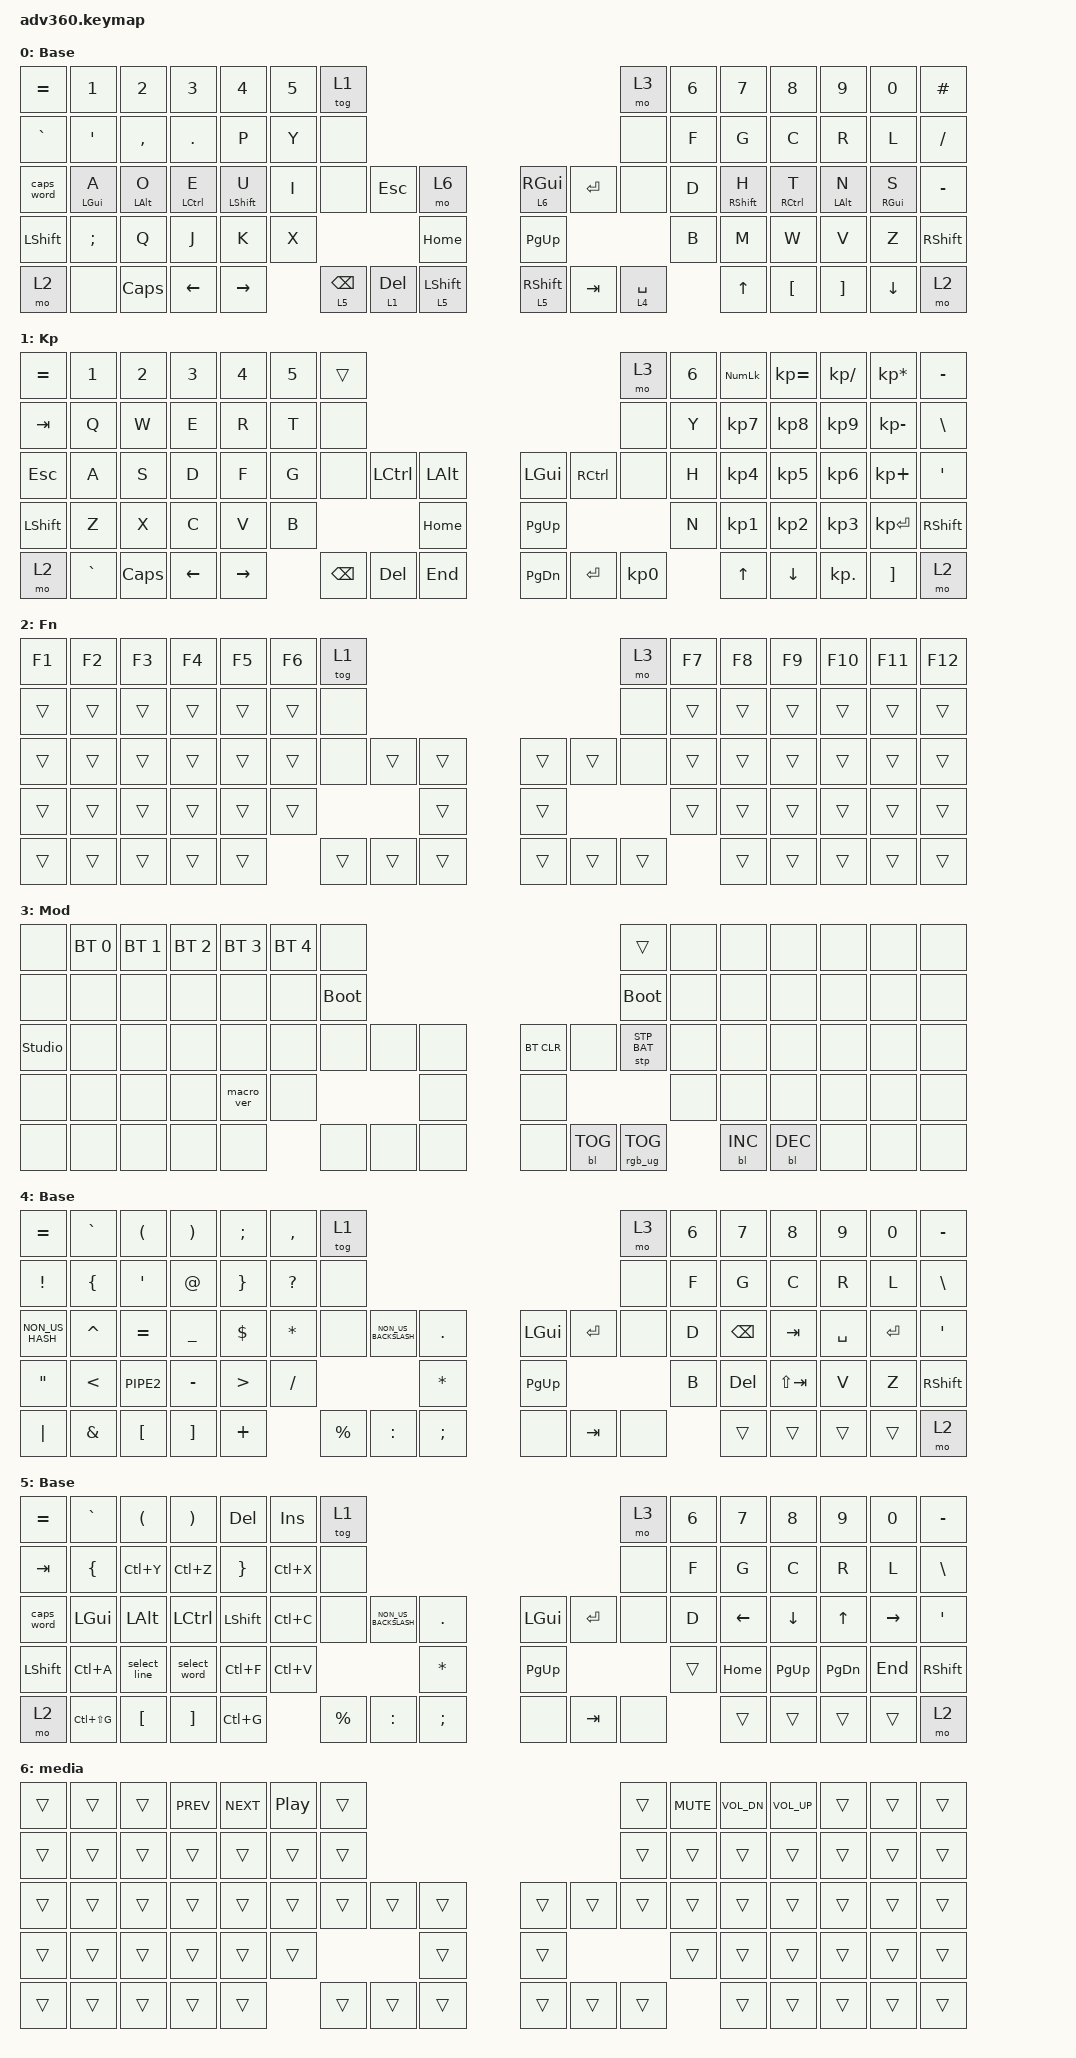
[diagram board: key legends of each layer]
#include <dt-bindings/zmk/stp.h>
#include <behaviors.dtsi>
#include <dt-bindings/zmk/backlight.h>
#include <dt-bindings/zmk/bt.h>
#include <dt-bindings/zmk/keys.h>
#include <dt-bindings/zmk/rgb.h>

&lt { quick-tap-ms = <300>; };

&sk {
    release-after-ms = <500>;
    quick-release;
};

/ {
    behaviors {
        #include "macros.dtsi"
      #include "version.dtsi"

        hm: homerow_mods {
            compatible = "zmk,behavior-hold-tap";
            label = "HOMEROW_MODS";
            #binding-cells = <2>;
            tapping-term-ms = <200>;
            flavor = "tap-preferred";
            bindings = <&kp>, <&kp>;

            require-prior-idle-ms = <200>;
            quick-tap-ms = <300>;
        };

        caps_word: caps_word {
            compatible = "zmk,behavior-caps-word";
            label = "CAPS_WORD";
            #binding-cells = <0>;
            continue-list = <A B C D E F G H I J K L M N O P Q R S T U V W X Y Z BACKSPACE UNDERSCORE DELETE>;
            mods = <(MOD_LSFT)>;
        };

        one_shot_shift: one_shot_shift {
            compatible = "zmk,behavior-hold-tap";
            label = "ONE_SHOT_SHIFT";
            bindings = <&mo>, <&sk>;

            #binding-cells = <2>;
            tapping-term-ms = <200>;
            flavor = "tap-preferred";
            require-prior-idle-ms = <150>;
        };
    };

    macros {
        select_line: select_line {
            compatible = "zmk,behavior-macro";
            #binding-cells = <0>;
            bindings = <&kp HOME &kp LS(END)>;
            label = "SELECT_LINE";
        };

        select_word: select_word {
            compatible = "zmk,behavior-macro";
            #binding-cells = <0>;
            bindings = <&kp LA(RIGHT) &kp LA(LEFT) &kp LA(LS(RIGHT))>;
            label = "SELECT_WORD";
        };
    };

    keymap {
        compatible = "zmk,keymap";

        default_layer {
            display-name = "Base";
            bindings = <
&kp EQUAL   &kp N1         &kp N2      &kp N3       &kp N4       &kp N5  &tog 1                                                                                          &mo 3        &kp N6  &kp N7        &kp N8       &kp N9      &kp N0      &kp HASH
&kp GRAVE   &kp SQT        &kp COMMA   &kp PERIOD   &kp P        &kp Y   &none                                                                                           &none        &kp F   &kp G         &kp C        &kp R       &kp L       &kp SLASH
&caps_word  &hm LGUI A     &hm LALT O  &hm LCTRL E  &hm LSHFT U  &kp I   &none            &kp ESC       &mo 6                        &lt 6 RIGHT_GUI          &kp ENTER  &none        &kp D   &hm RSHFT H   &hm RCTRL T  &hm LALT N  &hm RGUI S  &kp MINUS
&kp LSHFT   &kp SEMICOLON  &kp Q       &kp J        &kp K        &kp X                                  &kp HOME                     &kp PG_UP                                        &kp B   &kp M         &kp W        &kp V       &kp Z       &kp RSHFT
&mo 2       &none          &kp CAPS    &kp LEFT     &kp RIGHT            &lt 5 BACKSPACE  &lt 1 DELETE  &one_shot_shift 5 LSHFT      &one_shot_shift 5 RSHFT  &kp TAB    &lt 4 SPACE          &kp UP_ARROW  &kp LBKT     &kp RBKT    &kp DOWN    &mo 2
            >;
        };

        keypad {
            display-name = "Kp";
            bindings = <
&kp EQUAL  &kp N1     &kp N2    &kp N3    &kp N4     &kp N5  &trans                                                   &mo 3      &kp N6  &kp KP_NUM  &kp KP_EQUAL  &kp KP_DIVIDE  &kp KP_MULTIPLY  &kp MINUS
&kp TAB    &kp Q      &kp W     &kp E     &kp R      &kp T   &none                                                    &none      &kp Y   &kp KP_N7   &kp KP_N8     &kp KP_N9      &kp KP_MINUS     &kp BSLH
&kp ESC    &kp A      &kp S     &kp D     &kp F      &kp G   &none     &kp LCTRL  &kp LALT      &kp LGUI   &kp RCTRL  &none      &kp H   &kp KP_N4   &kp KP_N5     &kp KP_N6      &kp KP_PLUS      &kp SQT
&kp LSHFT  &kp Z      &kp X     &kp C     &kp V      &kp B                        &kp HOME      &kp PG_UP                        &kp N   &kp KP_N1   &kp KP_N2     &kp KP_N3      &kp KP_ENTER     &kp RSHFT
&mo 2      &kp GRAVE  &kp CAPS  &kp LEFT  &kp RIGHT          &kp BSPC  &kp DEL    &kp END       &kp PG_DN  &kp ENTER  &kp KP_N0          &kp UP      &kp DOWN      &kp KP_DOT     &kp RBKT         &mo 2
            >;
        };

        fn {
            display-name = "Fn";
            bindings = <
&kp F1  &kp F2  &kp F3  &kp F4  &kp F5  &kp F6  &tog 1                                      &mo 3   &kp F7  &kp F8  &kp F9  &kp F10  &kp F11  &kp F12
&trans  &trans  &trans  &trans  &trans  &trans  &none                                       &none   &trans  &trans  &trans  &trans   &trans   &trans
&trans  &trans  &trans  &trans  &trans  &trans  &none   &trans  &trans      &trans  &trans  &none   &trans  &trans  &trans  &trans   &trans   &trans
&trans  &trans  &trans  &trans  &trans  &trans                  &trans      &trans                  &trans  &trans  &trans  &trans   &trans   &trans
&trans  &trans  &trans  &trans  &trans          &trans  &trans  &trans      &trans  &trans  &trans          &trans  &trans  &trans   &trans   &trans
            >;
        };

        mod {
            display-name = "Mod";
            bindings = <
&none           &bt BT_SEL 0  &bt BT_SEL 1  &bt BT_SEL 2  &bt BT_SEL 3  &bt BT_SEL 4  &none                                                  &trans           &none  &none       &none       &none  &none  &none
&none           &none         &none         &none         &none         &none         &bootloader                                            &bootloader      &none  &none       &none       &none  &none  &none
&studio_unlock  &none         &none         &none         &none         &none         &none        &none  &none      &bt BT_CLR  &none       &stp STP_BAT     &none  &none       &none       &none  &none  &none
&none           &none         &none         &none         &macro_ver    &none                             &none      &none                                    &none  &none       &none       &none  &none  &none
&none           &none         &none         &none         &none                       &none        &none  &none      &none       &bl BL_TOG  &rgb_ug RGB_TOG         &bl BL_INC  &bl BL_DEC  &none  &none  &none
            >;
        };

        symbol {
            display-name = "Base";
            bindings = <
&kp EQUAL          &kp GRAVE       &kp LEFT_PARENTHESIS  &kp RIGHT_PARENTHESIS  &kp SEMICOLON     &kp COMMA     &tog 1                                                                      &mo 3  &kp N6  &kp N7         &kp N8       &kp N9     &kp N0     &kp MINUS
&kp EXCLAMATION    &kp LEFT_BRACE  &kp SQT               &kp AT_SIGN            &kp RIGHT_BRACE   &kp QUESTION  &none                                                                       &none  &kp F   &kp G          &kp C        &kp R      &kp L      &kp BSLH
&kp NON_US_HASH    &kp CARET       &kp EQUAL             &kp UNDERSCORE         &kp DOLLAR        &kp ASTERISK  &none        &kp NON_US_BACKSLASH  &kp PERIOD         &kp LGUI   &kp ENTER  &none  &kp D   &kp BACKSPACE  &kp TAB      &kp SPACE  &kp ENTER  &kp SQT
&kp DOUBLE_QUOTES  &kp LESS_THAN   &kp PIPE2             &kp MINUS              &kp GREATER_THAN  &kp SLASH                                        &kp ASTERISK       &kp PG_UP                    &kp B   &kp DELETE     &kp LS(TAB)  &kp V      &kp Z      &kp RSHFT
&kp PIPE           &kp AMPERSAND   &kp LEFT_BRACKET      &kp RIGHT_BRACKET      &kp PLUS                        &kp PERCENT  &kp COLON             &kp SEMICOLON      &none      &kp TAB    &none          &trans         &trans       &trans     &trans     &mo 2
            >;
        };

        cursor {
            display-name = "Base";
            bindings = <
&kp EQUAL   &kp GRAVE       &kp LEFT_PARENTHESIS  &kp RIGHT_PARENTHESIS  &kp DELETE       &kp INSERT  &tog 1                                                                      &mo 3  &kp N6  &kp N7    &kp N8          &kp N9         &kp N0     &kp MINUS
&kp TAB     &kp LEFT_BRACE  &kp LC(Y)             &kp LC(Z)              &kp RIGHT_BRACE  &kp LC(X)   &none                                                                       &none  &kp F   &kp G     &kp C           &kp R          &kp L      &kp BSLH
&caps_word  &kp LEFT_GUI    &kp LEFT_ALT          &kp LCTRL              &kp LSHFT        &kp LC(C)   &none        &kp NON_US_BACKSLASH  &kp PERIOD         &kp LGUI   &kp ENTER  &none  &kp D   &kp LEFT  &kp DOWN_ARROW  &kp UP_ARROW   &kp RIGHT  &kp SQT
&kp LSHFT   &kp LC(A)       &select_line          &select_word           &kp LC(F)        &kp LC(V)                                      &kp ASTERISK       &kp PG_UP                    &trans  &kp HOME  &kp PAGE_UP     &kp PAGE_DOWN  &kp END    &kp RSHFT
&mo 2       &kp LC(LS(G))   &kp LEFT_BRACKET      &kp RIGHT_BRACKET      &kp LC(G)                    &kp PERCENT  &kp COLON             &kp SEMICOLON      &none      &kp TAB    &none          &trans    &trans          &trans         &trans     &mo 2
            >;
        };

        media {
            bindings = <
&trans  &trans  &trans  &kp C_PREV  &kp C_NEXT  &kp C_PP  &trans                                      &trans  &kp C_MUTE  &kp C_VOL_DN  &kp C_VOL_UP  &trans  &trans  &trans
&trans  &trans  &trans  &trans      &trans      &trans    &trans                                      &trans  &trans      &trans        &trans        &trans  &trans  &trans
&trans  &trans  &trans  &trans      &trans      &trans    &trans  &trans  &trans      &trans  &trans  &trans  &trans      &trans        &trans        &trans  &trans  &trans
&trans  &trans  &trans  &trans      &trans      &trans                    &trans      &trans                  &trans      &trans        &trans        &trans  &trans  &trans
&trans  &trans  &trans  &trans      &trans                &trans  &trans  &trans      &trans  &trans  &trans              &trans        &trans        &trans  &trans  &trans
            >;
        };
    };
};
